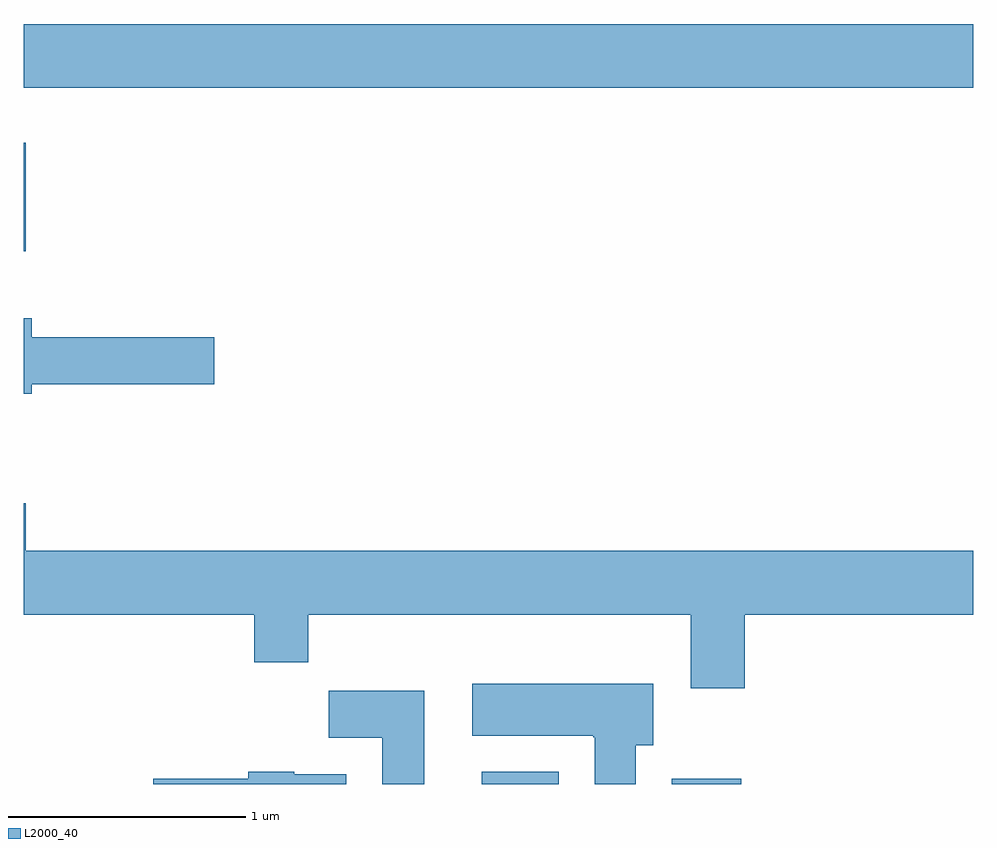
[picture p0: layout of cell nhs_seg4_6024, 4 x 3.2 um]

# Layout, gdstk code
import gdstk
lib = gdstk.Library(unit=1e-6, precision=1e-09)
def R(c, l, rs):  # rectangles x0, y0, x1, y1
    for r in rs: c.add(gdstk.rectangle(r[:2], r[2:], *l))
def P(c, l, *ps):  # polygons
    for p in ps: c.add(gdstk.Polygon(p, *l))
L2000_40 = (2000, 40)

nhs_seg4_6024 = lib.new_cell('nhs_seg4_6024')
R(nhs_seg4_6024, L2000_40, [(363.541,1333.982,363.864,1334.034), (364.341,1333.982,364.634,1334.004), (361.611,1336.226,361.619,1336.684), (361.611,1336.916,365.611,1337.184)])
P(nhs_seg4_6024, L2000_40, [(361.644,1335.666),(362.414,1335.666),(362.414,1335.864),(361.644,1335.864),(361.644,1335.944),(361.611,1335.944),(361.611,1335.626),(361.644,1335.626)],
  [(364.649,1334.696),(365.611,1334.696),(365.611,1334.964),(361.619,1334.964),(361.619,1335.164),(361.611,1335.164),(361.611,1334.696),(362.581,1334.696),(362.581,1334.496),(362.809,1334.496),(362.809,1334.696),(364.421,1334.696),(364.421,1334.386),(364.649,1334.386)],
  [(364.189,1334.146),(364.264,1334.146),(364.264,1334.404),(363.501,1334.404),(363.501,1334.186),(364.01,1334.186),(364.01,1334.18),(364.016,1334.18),(364.016,1333.982),(364.189,1333.982)],
  [(363.299,1334.374),(362.896,1334.374),(362.896,1334.176),(363.121,1334.176),(363.121,1333.982),(363.299,1333.982)],
  [(362.969,1334.024),(362.75,1334.024),(362.75,1334.034),(362.556,1334.034),(362.556,1334.004),(362.156,1334.004),(362.156,1333.982),(362.969,1333.982)])

lib.write_gds('nhs_seg4_6024.gds')
